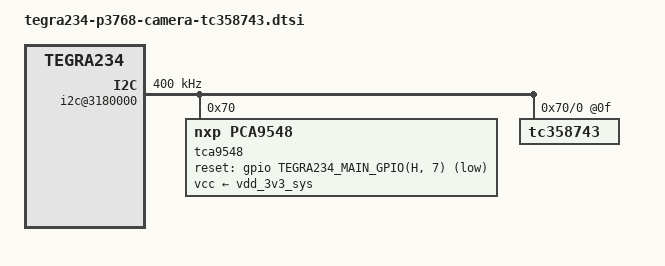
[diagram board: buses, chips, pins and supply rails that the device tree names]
// SPDX-License-Identifier: GPL-2.0-only
// Copyright (c) 2024 ARK Electronics

#include "tegra234-camera-tc358743.dtsi"

#define CAMERA_I2C_MUX_BUS(x) (0x1E + x)

/ {
    fragment-camera@0 {
        target-path = "/";
        __overlay__ {
            i2c@3180000 {
                status = "okay";
                clock-frequency = <400000>;

                tca9548@70 {
                    compatible = "nxp,pca9548";
                    reg = <0x70>;
                    reset-gpios = <&gpio TEGRA234_MAIN_GPIO(H, 7) GPIO_ACTIVE_LOW>;
                    vcc-supply = <&vdd_3v3_sys>;
                    skip_mux_detect = "yes";
                    force_bus_start = <0x1E>;

                    i2c@0 {
                        reg = <0>;
                        i2c-mux,deselect-on-exit;
                        #address-cells = <1>;
                        #size-cells = <0>;

                        imx219_a@10 {
                            status = "disabled";
                        };

                        tc358743: tc358743@0f {
                            status = "okay";
                        };
                    };

                    i2c@1 {
                        reg = <1>;
                        imx219_b@10 {
                            status = "disabled";
                        };
                    };

                    i2c@2 {
                        reg = <2>;
                        imx219_c@10 {
                            status = "disabled";
                        };
                    };

                    i2c@3 {
                        reg = <3>;
                        imx219_d@10 {
                            status = "disabled";
                        };
                    };
                };
            };
        };
    };
};
